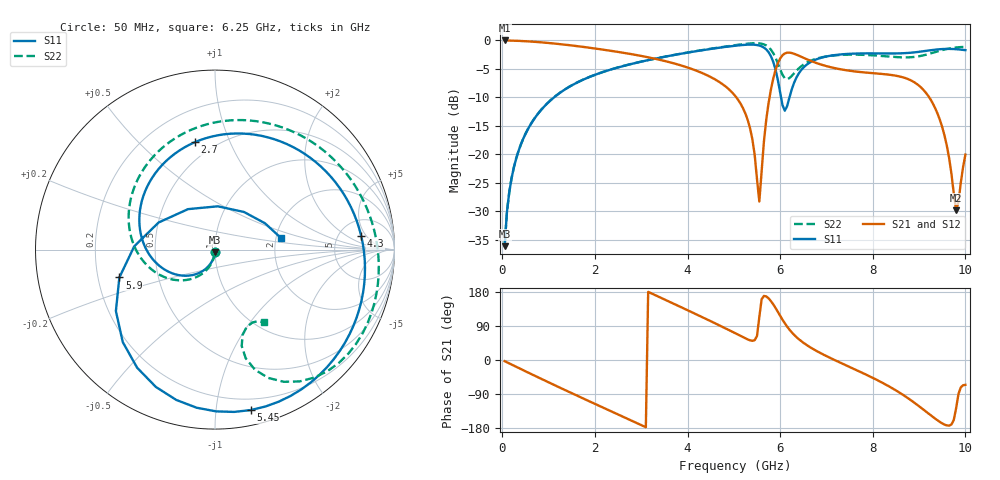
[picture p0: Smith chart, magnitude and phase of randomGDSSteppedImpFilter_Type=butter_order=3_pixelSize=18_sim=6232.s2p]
! freq	dB(S11)	phase(S11)	dB(S12)	phase(S12)
!  dB(S21)	phase(S21)	dB(S22)	phase(S22)
!S-par simulation data
#  GHz  S  DB  R 50
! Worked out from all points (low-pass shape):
!   200 points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, 50 MHz to 10 GHz, reference 50 ohm
!   highest |S21| = -0.01 dB at 50 MHz (marker M1); lowest = -29.8 dB at 9.8 GHz (marker M2)
!   |S21| within 3 dB of the highest: start of sweep to 3.176 GHz; 6.015 GHz to 6.492 GHz (477 MHz wide, 7.63 % of centre)
!   lowest |S11| = -36.1 dB at 50 MHz (marker M3), VSWR 1.03, Z = 49.9 - j1.56 ohm
!   |S11| at or under -10 dB: start of sweep to 1.116 GHz; 6.019 GHz to 6.201 GHz (181.9 MHz wide, 2.98 % of centre)
!   |S22| runs from -36.1 to -0.5 dB; largest |S21 - S12| = 0
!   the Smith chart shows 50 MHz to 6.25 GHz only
!   S11 on the Smith chart (normalised r, x): 50 MHz: 1.00, -0.03; 2.7 GHz: 0.39, +0.75; 4.3 GHz: 8.25, +3.77; 5.45 GHz: 0.11, -1.24; 5.9 GHz: 0.29, -0.13; 6.25 GHz: 2.12, +0.33
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0.05  -36.12 -92.8  -0.01 -3.0  -0.01 -3.0  -36.11 -92.3
0.2  -24.20 -103.2  -0.04 -12.0  -0.04 -12.0  -24.19 -101.1
0.5  -16.42 -122.8  -0.14 -29.8  -0.14 -29.8  -16.41 -117.7
1.75  -6.88 158.5  -1.14 -101.7  -1.14 -101.7  -6.86 176.5
2.7  -4.31 100.7  -2.29 -154.9  -2.29 -154.9  -4.30 127.9
3.4  -3.04 58.7  -3.40 165.7  -3.40 165.7  -3.03 91.1
4.3  -1.74 5.3  -5.67 114.1  -5.67 114.1  -1.72 41.7
5.05  -0.91 -42.7  -9.96 69.3  -9.96 69.3  -0.81 -2.2
5.45  -0.76 -77.5  -20.09 52.3  -20.09 52.3  -0.49 -29.7
5.55  -0.90 -89.6  -28.29 113.2  -28.29 113.2  -0.52 -37.9
5.7  -1.59 -113.3  -13.91 167.7  -13.91 167.7  -0.89 -52.1
5.9  -5.11 -163.7  -5.19 137.4  -5.19 137.4  -3.03 -71.6
6.05  -11.35 123.6  -2.61 106.6  -2.61 106.6  -6.03 -72.1
6.25  -8.61 10.4  -2.22 73.1  -2.22 73.1  -6.23 -56.3
6.7  -3.62 -53.9  -3.72 29.8  -3.72 29.8  -3.43 -69.6
7.55  -2.33 -103.7  -5.38 -21.2  -5.38 -21.2  -2.50 -117.4
8.35  -2.29 -139.2  -6.01 -69.6  -6.01 -69.6  -2.83 -178.8
8.7  -2.23 -154.4  -6.60 -95.7  -6.60 -95.7  -2.98 141.6
9.1  -1.89 -174.2  -8.74 -131.4  -8.74 -131.4  -2.61 83.4
9.55  -1.50 156.1  -16.72 -170.5  -16.72 -170.5  -1.59 15.5
9.8  -1.54 136.4  -29.79 -127.3  -29.79 -127.3  -1.24 -16.0
10  -1.71 119.6  -20.04 -65.6  -20.04 -65.6  -1.14 -37.1
